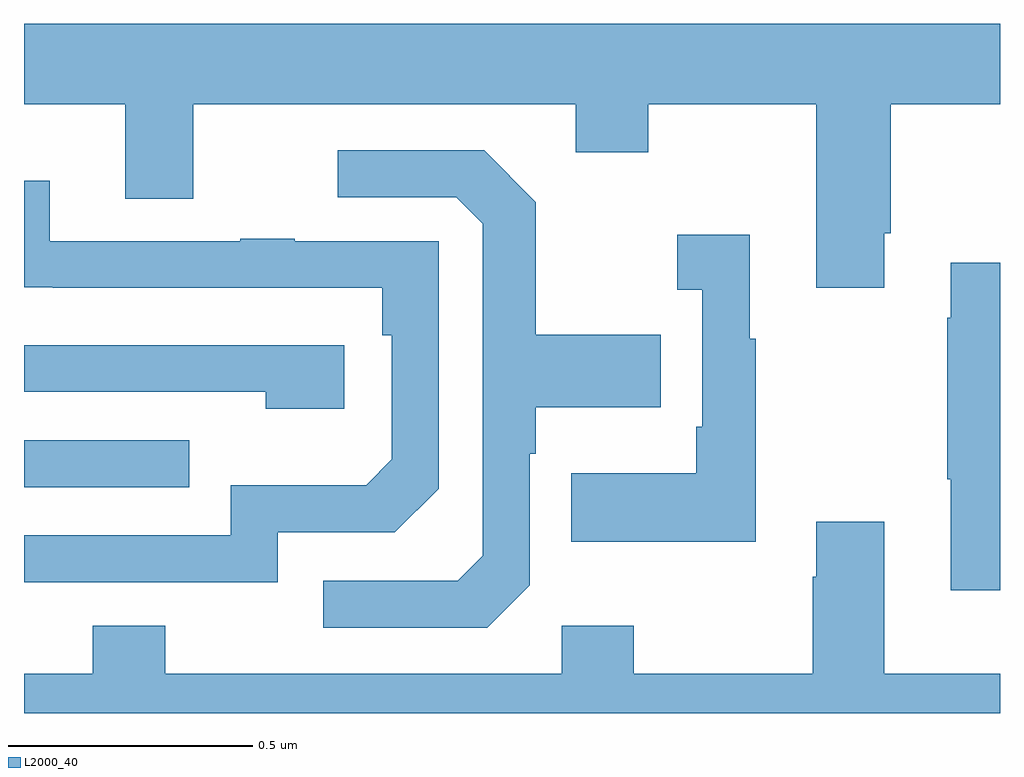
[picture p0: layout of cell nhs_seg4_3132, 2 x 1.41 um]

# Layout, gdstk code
import gdstk
lib = gdstk.Library(unit=1e-6, precision=1e-09)
def R(c, l, rs):  # rectangles x0, y0, x1, y1
    for r in rs: c.add(gdstk.rectangle(r[:2], r[2:], *l))
def P(c, l, *ps):  # polygons
    for p in ps: c.add(gdstk.Polygon(p, *l))
L2000_40 = (2000, 40)

nhs_seg4_3132 = lib.new_cell('nhs_seg4_3132')
R(nhs_seg4_3132, L2000_40, [(149,801.363,149.339,801.459)])
P(nhs_seg4_3132, L2000_40, [(150.763,801.883),(150.776,801.883),(150.776,802.148),(151,802.148),(151,802.312),(149,802.312),(149,802.148),(149.207,802.148),(149.207,801.954),(149.347,801.954),(149.347,802.148),(150.131,802.148),(150.131,802.049),(150.279,802.049),(150.279,802.148),(150.623,802.148),(150.623,801.771),(150.763,801.771)],
  [(150.036,801.162),(150.036,801.431),(150.049,801.431),(150.049,801.527),(150.305,801.527),(150.305,801.675),(150.049,801.675),(150.049,801.947),(149.943,802.053),(149.643,802.053),(149.643,801.957),(149.886,801.957),(149.94,801.903),(149.94,801.222),(149.889,801.171),(149.613,801.171),(149.613,801.075),(149.949,801.075)],
  [(149.52,801.27),(149.76,801.27),(149.85,801.36),(149.85,801.867),(149.555,801.867),(149.555,801.872),(149.443,801.872),(149.443,801.867),(149.053,801.867),(149.053,801.991),(149,801.991),(149,801.772),(149.059,801.772),(149.059,801.771),(149.734,801.771),(149.734,801.674),(149.754,801.674),(149.754,801.42),(149.701,801.367),(149.424,801.367),(149.424,801.264),(149,801.264),(149,801.168),(149.52,801.168)],
  [(150.499,801.667),(150.487,801.667),(150.487,801.88),(150.339,801.88),(150.339,801.767),(150.39,801.767),(150.39,801.487),(150.378,801.487),(150.378,801.391),(150.121,801.391),(150.121,801.251),(150.499,801.251)],
  [(151,801.823),(150.899,801.823),(150.899,801.71),(150.892,801.71),(150.892,801.379),(150.899,801.379),(150.899,801.152),(151,801.152)],
  [(149.656,801.654),(149,801.654),(149,801.558),(149.495,801.558),(149.495,801.524),(149.656,801.524)],
  [(149.289,801.079),(149.141,801.079),(149.141,800.98),(149,800.98),(149,800.9),(151,800.9),(151,800.98),(150.763,800.98),(150.763,801.292),(150.623,801.292),(150.623,801.179),(150.616,801.179),(150.616,800.98),(150.249,800.98),(150.249,801.079),(150.102,801.079),(150.102,800.98),(149.289,800.98)])

lib.write_gds('nhs_seg4_3132.gds')
